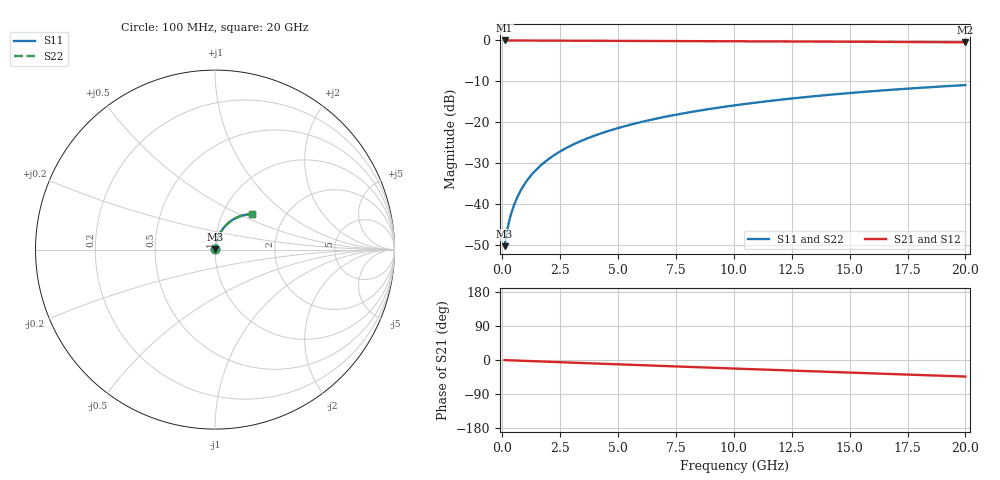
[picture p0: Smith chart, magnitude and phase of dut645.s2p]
! Touchstone file exported from HFSS 2026.1.0
!  File:  C:/ffzhzh/LocalFiles/Ansys_Project_Files/temp_train_BSMRDL_645_1783016832_51716.aedt
!  Generated:  02:28:37 AM Jul  3, 2026
!  Design:  BSMRDL
!  Project:  temp_train_BSMRDL_645_1783016832_51716
! Variables:
!  h_bsmrdl = 5.12um
!  h_ox = 20um
!  h_rdl = 5um
!  h_sub = 80um
!  h_tmrdl = 5um
!  h_tsv = 80um
!  h_via = 3um
!  l_bsmrdl = 710.06um
!  l_sub = 1110.06um
!  l_tmrdl = 200um
!  m_sub = 200um
!  pitch = 42.13um
!  r_tsv = 6um
!  s_tmrdl = 10um
!  w_bsmrdl = 24.57um
!  w_sub = 500um
!  w_tmrdl = 12um
!  x_tsv_center1 = 206um
!  x_tsv_center2 = 940.63um
!  x_tsv_center3 = 1152.63um
!  x_tsv_center4 = 1887.26um
!  x_tsv_center5 = 2099.26um
!  x_tsv_center6 = 2833.89um
# GHz S MA R 50.000000
! Terminal data exported
! Port[1] = BSM_RDL1_1_T1
! Port[2] = BSM_RDL1_1_T2
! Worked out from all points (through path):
!   200 points, 100 MHz to 20 GHz, reference 50 ohm
!   highest |S21| = -0.02 dB at 100 MHz (marker M1); lowest = -0.5 dB at 20 GHz (marker M2)
!   group delay of S21, straight-line fit = 6.06 ps
!   lowest |S11| = -50.4 dB at 100 MHz (marker M3), VSWR 1.01, Z = 50.2 + j0.204 ohm
!   |S11| at or under -10 dB: start of sweep to end of sweep
!   |S22| runs from -50.4 to -11.0 dB; largest |S21 - S12| = 3.6e-15
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0.1  0.003017 42.3  0.9978 -0.2  0.9978 -0.2  0.003017 42.3
! Gamma 0 0 0 0
! Port Impedance 50 0 50 0
0.2  0.004585 57.5  0.9976 -0.5  0.9976 -0.5  0.004585 57.5
0.3  0.006195 64.7  0.9974 -0.7  0.9974 -0.7  0.006195 64.7
0.4  0.007829 69.1  0.9973 -1.0  0.9973 -1.0  0.007829 69.0
0.5  0.00949 72.0  0.9972 -1.2  0.9972 -1.2  0.00949 72.0
0.6  0.01117 74.1  0.9971 -1.4  0.9971 -1.4  0.01117 74.1
0.8  0.01458 76.6  0.997 -1.9  0.997 -1.9  0.01458 76.6
1.1  0.01975 78.5  0.9967 -2.6  0.9967 -2.6  0.01975 78.5
1.5  0.02664 79.3  0.9963 -3.5  0.9963 -3.5  0.02664 79.3
1.8  0.03179 79.4  0.9959 -4.2  0.9959 -4.2  0.03179 79.4
2.1  0.0369 79.2  0.9955 -4.9  0.9955 -4.9  0.0369 79.2
2.7  0.04702 78.5  0.9946 -6.3  0.9946 -6.3  0.04702 78.5
3.5  0.06026 77.1  0.9932 -8.1  0.9932 -8.1  0.06026 77.1
4.2  0.07162 75.8  0.9918 -9.7  0.9918 -9.7  0.07162 75.8
5  0.08439 74.3  0.9902 -11.5  0.9902 -11.5  0.08439 74.3
5.9  0.0985 72.5  0.9882 -13.5  0.9882 -13.5  0.09849 72.5
6.8  0.1124 70.7  0.9862 -15.5  0.9862 -15.5  0.1124 70.7
8.3  0.1349 67.7  0.9825 -18.8  0.9825 -18.8  0.1349 67.7
10.1  0.1611 64.1  0.9778 -22.7  0.9778 -22.7  0.1611 64.0
13.4  0.2062 57.3  0.9682 -29.9  0.9682 -29.9  0.2061 57.3
16.7  0.2471 50.7  0.9578 -36.8  0.9578 -36.8  0.2471 50.6
20  0.2834 44.1  0.9472 -43.7  0.9472 -43.7  0.2834 44.0
